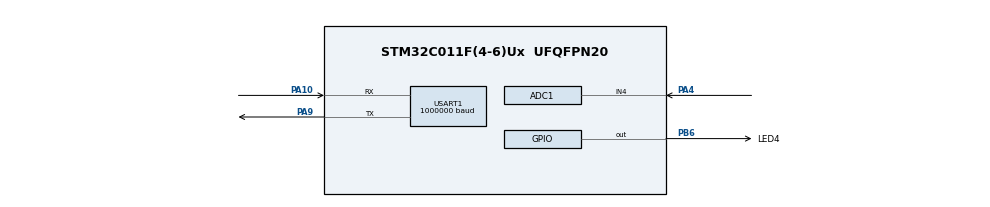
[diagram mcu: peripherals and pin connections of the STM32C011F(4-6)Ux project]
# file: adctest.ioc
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ADC1.Channel-0\#ChannelRegularConversion=ADC_CHANNEL_4
ADC1.Channel-IN4=ADC_CHANNEL_4
ADC1.ClockPrescaler=ADC_CLOCK_SYNC_PCLK_DIV4
ADC1.ContinuousConvMode=DISABLE
ADC1.DMAContinuousRequests=DISABLE
ADC1.DataAlign=ADC_DATAALIGN_RIGHT
ADC1.DiscontinuousConvMode=DISABLE
ADC1.EOCSelection=ADC_EOC_SINGLE_CONV
ADC1.EnableAnalogWatchDog1=false
ADC1.EnableAnalogWatchDog2=false
ADC1.EnableAnalogWatchDog3=false
ADC1.ExternalTrigConv=ADC_SOFTWARE_START
ADC1.ExternalTrigConvEdge=ADC_EXTERNALTRIGCONVEDGE_NONE
ADC1.LowPowerAutoPowerOff=DISABLE
ADC1.LowPowerAutoWait=DISABLE
ADC1.NbrOfConversion=1
ADC1.Overrun=ADC_OVR_DATA_OVERWRITTEN
ADC1.OversamplingMode=DISABLE
ADC1.Rank-0\#ChannelRegularConversion=1
ADC1.Resolution=ADC_RESOLUTION_12B
ADC1.SamplingTime-0\#ChannelRegularConversion=ADC_SAMPLINGTIME_COMMON_1
ADC1.SamplingTimeCommon1=ADC_SAMPLETIME_79CYCLES_5
ADC1.SamplingTimeCommon2=ADC_SAMPLETIME_79CYCLES_5
ADC1.ScanConvMode=ADC_SCAN_DISABLE
ADC1.SelectedChannel=ADC_CHANNEL_4
ADC1.Sequencer=FULLY_CONFIGURABLE
ADC1.TriggerFrequencyMode=ADC_TRIGGER_FREQ_HIGH
ADC1.master=1
CORTEX_M0+.MPU_Control=__NULL
Mcu.Family=STM32C0
Mcu.Name=STM32C011F(4-6)Ux
Mcu.Package=UFQFPN20
PA10\ [PA12].GPIO_FMPA10=SYSCFG_FASTMODEPLUS_PA10
PA10\ [PA12].GPIO_Speed=GPIO_SPEED_FREQ_VERY_HIGH
PA10\ [PA12].Mode=Asynchronous
PA10\ [PA12].Signal=USART1_RX
PA4.Mode=IN4
PA4.Signal=ADC1_IN4
PA9\ [PA11].GPIO_FMPA9=SYSCFG_FASTMODEPLUS_PA9
PA9\ [PA11].GPIO_Speed=GPIO_SPEED_FREQ_VERY_HIGH
PA9\ [PA11].Mode=Asynchronous
PA9\ [PA11].Signal=USART1_TX
PB6.GPIO_Label=LED4
PB6.Signal=GPIO_Output
ProjectManager.HeapSize=0x200
ProjectManager.StackSize=0x400
ProjectManager.TargetToolchain=MDK-ARM V5.32
RCC.ADCFreq_Value=48000000
RCC.AHBFreq_Value=48000000
RCC.CortexFreq_Value=48000000
RCC.EXTERNAL_CLOCK_VALUE=12288000
RCC.FLatency=FLASH_LATENCY_1
RCC.HCLKFreq_Value=48000000
RCC.HSE_VALUE=8000000
RCC.HSISYSCLKDivider=RCC_HSI_DIV1
RCC.HSI_VALUE=48000000
RCC.LSE_VALUE=32768
RCC.SYSCLKFreq_VALUE=48000000
USART1.BaudRate=1000000
USART1.VirtualMode-Asynchronous=VM_ASYNC
VP_SYS_VS_PINREMAP.Mode=PINREMAP
VP_SYS_VS_PINREMAP_10_12.Mode=PINREMAP_10_12
board=custom

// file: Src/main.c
/* USER CODE BEGIN Header */
/**
  ******************************************************************************
  * @file    Examples_LL/ADC/ADC_SingleConversion_TriggerSW_Init/Src/main.c
  * @author  MCD Application Team
  * @brief   Use ADC to convert a single channel at each SW start.
  *          Conversion performed using programming model: polling
  *          This example is based on the STM32C0xx ADC LL API;
  *          Peripheral initialization done using LL unitary services functions.
  ******************************************************************************
  * @attention
  *
  * Copyright (c) 2022 STMicroelectronics.
  * All rights reserved.
  *
  * This software is licensed under terms that can be found in the LICENSE file
  * in the root directory of this software component.
  * If no LICENSE file comes with this software, it is provided AS-IS.
  *
  ******************************************************************************
  */
/* USER CODE END Header */
#include "main.h"
#include "adc.h"
#include "usart.h"
#include "gpio.h"

/* USER CODE BEGIN Includes */
#include <stdio.h>
/* USER CODE END Includes */

/* USER CODE BEGIN PD */

/* Definitions of ADC hardware constraints delays */
/* Note: Only ADC IP HW delays are defined in ADC LL driver driver,           */
/*       not timeout values:                                                  */
/*       Timeout values for ADC operations are dependent to device clock      */
/*       configuration (system clock versus ADC clock),                       */
/*       and therefore must be defined in user application.                   */
/*       Refer to @ref ADC_LL_EC_HW_DELAYS for description of ADC timeout     */
/*       values definition.                                                   */

  /* Timeout values for ADC operations. */
  /* (calibration, enable settling time, disable settling time, ...)          */
  /* Values defined to be higher than worst cases: low clock frequency,       */
  /* maximum prescalers.                                                      */
  /* Note: ADC channel configuration ready (ADC_CHANNEL_CONF_RDY_TIMEOUT_MS)  */
  /*       is added in CubeMx code section.                                   */
  /* Unit: ms                                                                 */
  #define ADC_CALIBRATION_TIMEOUT_MS       (   1UL)
  #define ADC_ENABLE_TIMEOUT_MS            (   1UL)
  #define ADC_DISABLE_TIMEOUT_MS           (   1UL)
  #define ADC_STOP_CONVERSION_TIMEOUT_MS   (   1UL)
  #define ADC_CONVERSION_TIMEOUT_MS        (4000UL)

  /* Delay between ADC end of calibration and ADC enable.                     */
  /* Delay estimation in CPU cycles: Case of ADC enable done                  */
  /* immediately after ADC calibration, ADC clock setting slow                */
  /* (LL_ADC_CLOCK_ASYNC_DIV32). Use a higher delay if ratio                  */
  /* (CPU clock / ADC clock) is above 32.                                     */
  #define ADC_DELAY_CALIB_ENABLE_CPU_CYCLES  (LL_ADC_DELAY_CALIB_ENABLE_ADC_CYCLES * 32)

/* Definitions of environment analog values */
  /* Value of analog reference voltage (Vref+), connected to analog voltage   */
  /* supply Vdda (unit: mV).                                                  */
  #define VDDA_APPLI                       (3300UL)

/* Definitions of data related to this example */
  /* Init variable out of expected ADC conversion data range */
  #define VAR_CONVERTED_DATA_INIT_VALUE    (__LL_ADC_DIGITAL_SCALE(LL_ADC_RESOLUTION_12B) + 1)

/* USER CODE END PD */

/* USER CODE BEGIN PV */

/* Variables for ADC conversion data */
__IO uint16_t uhADCxConvertedData = VAR_CONVERTED_DATA_INIT_VALUE; /* ADC group regular conversion data */

/* Variables for ADC conversion data computation to physical values */
uint16_t uhADCxConvertedData_Voltage_mVolt = 0;  /* Value of voltage calculated from ADC conversion data (unit: mV) */

/* USER CODE END PV */

void SystemClock_Config(void);
/* USER CODE BEGIN PFP */

void ADC_Activate(void);
void ConversionStartPoll_ADC_GrpRegular(void);
void LED_On(void);
void LED_Off(void);
void LED_Toggle(void);

/* USER CODE END PFP */

/* USER CODE BEGIN 0 */
void Send_Data_To_UART1 (uint8_t c)
{

   USART1->TDR = c;

   while( (USART1-> ISR & (1<<7) ) ==0 );
}

void iputs1(char *msg)
{
   while(*msg)
   Send_Data_To_UART1(*msg++);
}

void iputbytes1(uint8_t *msg, uint32_t ilen)
{
   while(ilen--)
   Send_Data_To_UART1(*msg++);
}
/* USER CODE END 0 */

int main(void)
{

  /* MCU Configuration--------------------------------------------------------*/

  /* Reset of all peripherals, Initializes the Flash interface and the Systick. */
  LL_APB2_GRP1_EnableClock(LL_APB2_GRP1_PERIPH_SYSCFG);
  LL_APB1_GRP1_EnableClock(LL_APB1_GRP1_PERIPH_PWR);

  /* SysTick_IRQn interrupt configuration */
  NVIC_SetPriority(SysTick_IRQn, 3);

  LL_SYSCFG_EnablePinRemap(LL_SYSCFG_PIN_RMP_PA11);
  LL_SYSCFG_EnablePinRemap(LL_SYSCFG_PIN_RMP_PA12);

  /* Configure the system clock */
  SystemClock_Config();

  /* Initialize all configured peripherals */
  MX_GPIO_Init();
  MX_ADC1_Init();
  MX_USART1_UART_Init();
  /* USER CODE BEGIN 2 */

  /* Activate ADC */
  /* Perform ADC activation procedure to make it ready to convert. */
  ADC_Activate();

  iputs1("start...");

  /* USER CODE END 2 */

  /* Infinite loop */
  /* USER CODE BEGIN WHILE */
  while (1)
  {
    /* Perform ADC group regular conversion start, poll for conversion        */
    /* completion.                                                            */
    ConversionStartPoll_ADC_GrpRegular();

    /* Retrieve ADC conversion data */
    uhADCxConvertedData = LL_ADC_REG_ReadConversionData32(ADC1);

    /* Computation of ADC conversions raw data to physical values             */
    /* using helper macro.                                                    */
    uhADCxConvertedData_Voltage_mVolt = __LL_ADC_CALC_DATA_TO_VOLTAGE(VDDA_APPLI, uhADCxConvertedData, LL_ADC_RESOLUTION_12B);

    char str1[30];
    sprintf(str1,"adcn: %d %d  \r\n",uhADCxConvertedData,uhADCxConvertedData_Voltage_mVolt  );
    iputs1(str1);

    /* Toggle LED at each ADC conversion */
    LED_On();
    LL_mDelay(LED_BLINK_SLOW);  //500
    LED_Off();
    LL_mDelay(LED_BLINK_SLOW);

    /* Note: ADC group regular conversions data are stored into array         */
    /*       "uhADCxConvertedData"                                            */
    /*       (for debug: see variable content into watch window).             */

    /* Note: ADC conversion data are computed to physical values              */
    /*       into array "uhADCxConvertedData_Voltage_mVolt" using             */
    /*       ADC LL driver helper macro "__LL_ADC_CALC_DATA_TO_VOLTAGE()"     */
    /*       (for debug: see variable content with debugger)                  */

    /* USER CODE END WHILE */

  }
}

void SystemClock_Config(void)
{

  LL_FLASH_SetLatency(LL_FLASH_LATENCY_1);

  /* HSI configuration and activation */
  LL_RCC_HSI_Enable();
  while(LL_RCC_HSI_IsReady() != 1)
  {
  }

  LL_RCC_HSI_SetCalibTrimming(64);
  LL_RCC_SetHSIDiv(LL_RCC_HSI_DIV_1);
  /* Set AHB prescaler*/
  LL_RCC_SetAHBPrescaler(LL_RCC_HCLK_DIV_1);

  /* Sysclk activation on the HSI */
  LL_RCC_SetSysClkSource(LL_RCC_SYS_CLKSOURCE_HSI);
  while(LL_RCC_GetSysClkSource() != LL_RCC_SYS_CLKSOURCE_STATUS_HSI)
  {
  }

  /* Set APB1 prescaler*/
  LL_RCC_SetAPB1Prescaler(LL_RCC_APB1_DIV_1);
  LL_Init1msTick(48000000);
  /* Update CMSIS variable (which can be updated also through SystemCoreClockUpdate function) */
  LL_SetSystemCoreClock(48000000);
}

/* USER CODE BEGIN 4 */

/**
  * @brief  Perform ADC activation procedure to make it ready to convert
  *         (ADC instance: ADC1).
  * @param  None
  * @retval None
  */
void ADC_Activate(void)
{
  __IO uint32_t wait_loop_index = 0U;
  __IO uint32_t backup_setting_adc_dma_transfer = 0U;
  #if (USE_TIMEOUT == 1)
  uint32_t Timeout = 0U; /* Variable used for timeout management */
  #endif /* USE_TIMEOUT */

  /*## Operation on ADC hierarchical scope: ADC instance #####################*/

  /* Note: Hardware constraint (refer to description of the functions         */
  /*       below):                                                            */
  /*       On this STM32 series, setting of these features is conditioned to  */
  /*       ADC state:                                                         */
  /*       ADC must be disabled.                                              */
  /* Note: In this example, all these checks are not necessary but are        */
  /*       implemented anyway to show the best practice usages                */
  /*       corresponding to reference manual procedure.                       */
  /*       Software can be optimized by removing some of these checks, if     */
  /*       they are not relevant considering previous settings and actions    */
  /*       in user application.                                               */
  if (LL_ADC_IsEnabled(ADC1) == 0)
  {
    /* Enable ADC internal voltage regulator */
    LL_ADC_EnableInternalRegulator(ADC1);

    /* Delay for ADC internal voltage regulator stabilization.                */
    /* Compute number of CPU cycles to wait for, from delay in us.            */
    /* Note: Variable divided by 2 to compensate partially                    */
    /*       CPU processing cycles (depends on compilation optimization).     */
    /* Note: If system core clock frequency is below 200kHz, wait time        */
    /*       is only a few CPU processing cycles.                             */
    wait_loop_index = ((LL_ADC_DELAY_INTERNAL_REGUL_STAB_US * (SystemCoreClock / (100000 * 2))) / 10);
    while(wait_loop_index != 0)
    {
      wait_loop_index--;
    }

    /* Disable ADC DMA transfer request during calibration */
    /* Note: Specificity of this STM32 series: Calibration factor is          */
    /*       available in data register and also transferred by DMA.          */
    /*       To not insert ADC calibration factor among ADC conversion data   */
    /*       in DMA destination address, DMA transfer must be disabled during */
    /*       calibration.                                                     */
    backup_setting_adc_dma_transfer = LL_ADC_REG_GetDMATransfer(ADC1);
    LL_ADC_REG_SetDMATransfer(ADC1, LL_ADC_REG_DMA_TRANSFER_NONE);

    /* Run ADC self calibration */
    LL_ADC_StartCalibration(ADC1);

    /* Poll for ADC effectively calibrated */
    #if (USE_TIMEOUT == 1)
    Timeout = ADC_CALIBRATION_TIMEOUT_MS;
    #endif /* USE_TIMEOUT */

    while (LL_ADC_IsCalibrationOnGoing(ADC1) != 0)
    {
    #if (USE_TIMEOUT == 1)
      /* Check Systick counter flag to decrement the time-out value */
      if (LL_SYSTICK_IsActiveCounterFlag())
      {
        if(Timeout-- == 0)
        {
          /* Error: Time-out */
          Error_Handler();
        }
      }
    #endif /* USE_TIMEOUT */
    }

    /* Restore ADC DMA transfer request after calibration */
    LL_ADC_REG_SetDMATransfer(ADC1, backup_setting_adc_dma_transfer);

    /* Delay between ADC end of calibration and ADC enable.                   */
    /* Note: Variable divided by 2 to compensate partially                    */
    /*       CPU processing cycles (depends on compilation optimization).     */
    wait_loop_index = (ADC_DELAY_CALIB_ENABLE_CPU_CYCLES >> 1);
    while(wait_loop_index != 0)
    {
      wait_loop_index--;
    }

    /* Enable ADC */
    LL_ADC_Enable(ADC1);

    /* Poll for ADC ready to convert */
    #if (USE_TIMEOUT == 1)
    Timeout = ADC_ENABLE_TIMEOUT_MS;
    #endif /* USE_TIMEOUT */

    while (LL_ADC_IsActiveFlag_ADRDY(ADC1) == 0)
    {
    #if (USE_TIMEOUT == 1)
      /* Check Systick counter flag to decrement the time-out value */
      if (LL_SYSTICK_IsActiveCounterFlag())
      {
        if(Timeout-- == 0)
        {
          /* Error: Time-out */
          Error_Handler();
        }
      }
    #endif /* USE_TIMEOUT */
    }

    /* Note: ADC flag ADRDY is not cleared here to be able to check ADC       */
    /*       status afterwards.                                               */
    /*       This flag should be cleared at ADC Deactivation, before a new    */
    /*       ADC activation, using function "LL_ADC_ClearFlag_ADRDY()".       */
  }

  /*## Operation on ADC hierarchical scope: ADC group regular ################*/
  /* Note: No operation on ADC group regular performed here.                  */
  /*       ADC group regular conversions to be performed after this function  */
  /*       using function:                                                    */
  /*       "LL_ADC_REG_StartConversion();"                                    */

  /*## Operation on ADC hierarchical scope: ADC group injected ###############*/
  /* Note: Feature not available on this STM32 series */

}

/**
  * @brief  Perform ADC group regular conversion start, poll for conversion
  *         completion.
  *         (ADC instance: ADC1).
  * @note   This function does not perform ADC group regular conversion stop:
  *         intended to be used with ADC in single mode, trigger SW start
  *         (only 1 ADC conversion done at each trigger, no conversion stop
  *         needed).
  *         In case of continuous mode or conversion trigger set to
  *         external trigger, ADC group regular conversion stop must be added
  *         after polling for conversion data.
  * @param  None
  * @retval None
  */
void ConversionStartPoll_ADC_GrpRegular(void)
{
  #if (USE_TIMEOUT == 1)
  uint32_t Timeout = 0U; /* Variable used for timeout management */
  #endif /* USE_TIMEOUT */

  /* Start ADC group regular conversion */
  /* Note: Hardware constraint (refer to description of the function          */
  /*       below):                                                            */
  /*       On this STM32 series, setting of this feature is conditioned to    */
  /*       ADC state:                                                         */
  /*       ADC must be enabled without conversion on going on group regular,  */
  /*       without ADC disable command on going.                              */
  /* Note: In this example, all these checks are not necessary but are        */
  /*       implemented anyway to show the best practice usages                */
  /*       corresponding to reference manual procedure.                       */
  /*       Software can be optimized by removing some of these checks, if     */
  /*       they are not relevant considering previous settings and actions    */
  /*       in user application.                                               */
  if ((LL_ADC_IsEnabled(ADC1) == 1)               &&
      (LL_ADC_IsDisableOngoing(ADC1) == 0)        &&
      (LL_ADC_REG_IsConversionOngoing(ADC1) == 0)   )
  {
    LL_ADC_REG_StartConversion(ADC1);
  }
  else
  {
    /* Error: ADC conversion start could not be performed */
    Error_Handler();
  }

  #if (USE_TIMEOUT == 1)
  Timeout = ADC_UNITARY_CONVERSION_TIMEOUT_MS;
  #endif /* USE_TIMEOUT */

  while (LL_ADC_IsActiveFlag_EOC(ADC1) == 0)
  {
  #if (USE_TIMEOUT == 1)
    /* Check Systick counter flag to decrement the time-out value */
    if (LL_SYSTICK_IsActiveCounterFlag())
    {
      if(Timeout-- == 0)
      {
        Error_Handler();
      }
    }
  #endif /* USE_TIMEOUT */
  }

  /* Clear flag ADC group regular end of unitary conversion */
  /* Note: This action is not needed here, because flag ADC group regular   */
  /*       end of unitary conversion is cleared automatically when          */
  /*       software reads conversion data from ADC data register.           */
  /*       Nevertheless, this action is done anyway to show how to clear    */
  /*       this flag, needed if conversion data is not always read          */
  /*       or if group injected end of unitary conversion is used (for      */
  /*       devices with group injected available).                          */
  LL_ADC_ClearFlag_EOC(ADC1);

}

/**
  * @brief  Turn-on LED4.
  * @param  None
  * @retval None
  */
void LED_On(void)
{
  /* Turn LED on */
  LL_GPIO_SetOutputPin(LED4_GPIO_Port, LED4_Pin);
}

/**
  * @brief  Turn-off LED4.
  * @param  None
  * @retval None
  */
void LED_Off(void)
{
  /* Turn LED off */
  LL_GPIO_ResetOutputPin(LED4_GPIO_Port, LED4_Pin);
}

/**
  * @brief  Toggle LED4.
  * @param  None
  * @retval None
  */
void LED_Toggle(void)
{
  /* Turn LED off */
  LL_GPIO_TogglePin(LED4_GPIO_Port, LED4_Pin);
}

/* USER CODE END 4 */

void Error_Handler(void)
{
  /* USER CODE BEGIN Error_Handler_Debug */
  /* User can add his own implementation to report the HAL error return state */

  /* Turn on LED and remain in infinite loop */
  while (1)
  {
    LED_On();
  }
  /* USER CODE END Error_Handler_Debug */
}
